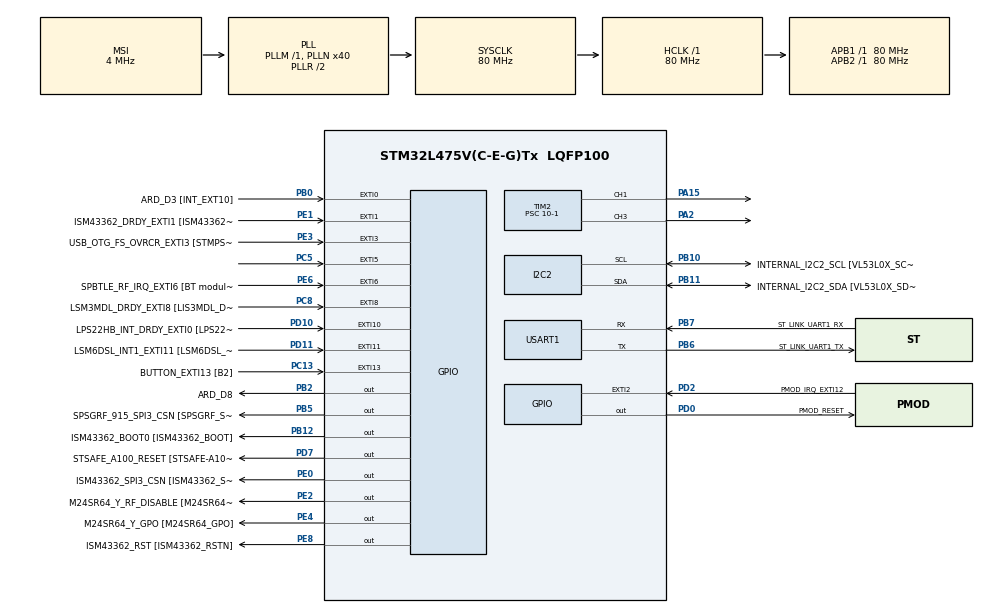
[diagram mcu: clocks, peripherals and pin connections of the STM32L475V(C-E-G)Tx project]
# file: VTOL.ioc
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I2C2.Timing=0x10909CEC
Mcu.Family=STM32L4
Mcu.Name=STM32L475V(C-E-G)Tx
Mcu.Package=LQFP100
NVIC.EXTI15_10_IRQn=true\:0\:0\:false\:false\:true\:true\:true\:true
NVIC.EXTI9_5_IRQn=true\:0\:0\:false\:false\:true\:true\:true\:true
NVIC.PriorityGroup=NVIC_PRIORITYGROUP_4
NVIC.TIM6_DAC_IRQn=true\:1\:0\:true\:false\:true\:true\:true\:true
NVIC.USART1_IRQn=true\:0\:0\:false\:false\:true\:true\:true\:true
PA13\ (JTMS-SWDIO).GPIO_Label=SYS_JTMS_SWDIO
PA13\ (JTMS-SWDIO).Mode=Serial_Wire
PA13\ (JTMS-SWDIO).Signal=SYS_JTMS-SWDIO
PA14\ (JTCK-SWCLK).GPIO_Label=SYS_JTCK_SWCLK
PA14\ (JTCK-SWCLK).Mode=Serial_Wire
PA14\ (JTCK-SWCLK).Signal=SYS_JTCK-SWCLK
PA15\ (JTDI).Signal=S_TIM2_CH1
PA2.Signal=S_TIM2_CH3
PB0.GPIO_Label=ARD_D3 [INT_EXT10]
PB0.Signal=GPXTI0
PB10.GPIO_Label=INTERNAL_I2C2_SCL [VL53L0X_SCL]
PB10.GPIO_Pu=GPIO_PULLUP
PB10.Mode=I2C
PB10.Signal=I2C2_SCL
PB11.GPIO_Label=INTERNAL_I2C2_SDA [VL53L0X_SDA]
PB11.GPIO_Pu=GPIO_PULLUP
PB11.Mode=I2C
PB11.Signal=I2C2_SDA
PB12.GPIO_Label=ISM43362_BOOT0 [ISM43362_BOOT]
PB12.Signal=GPIO_Output
PB2.GPIO_Label=ARD_D8
PB2.Signal=GPIO_Output
PB5.GPIO_Label=SPSGRF_915_SPI3_CSN [SPSGRF_SPI_CS]
PB5.PinState=GPIO_PIN_SET
PB5.Signal=GPIO_Output
PB6.GPIO_Label=ST_LINK_UART1_TX
PB6.Mode=Asynchronous
PB6.Signal=USART1_TX
PB7.GPIO_Label=ST_LINK_UART1_RX
PB7.Mode=Asynchronous
PB7.Signal=USART1_RX
PC13.GPIO_Label=BUTTON_EXTI13 [B2]
PC13.GPIO_ModeDefaultEXTI=GPIO_MODE_IT_FALLING
PC13.Signal=GPXTI13
PC5.Signal=GPXTI5
PC8.GPIO_Label=LSM3MDL_DRDY_EXTI8 [LIS3MDL_DRDY]
PC8.Signal=GPXTI8
PD0.GPIO_Label=PMOD_RESET
PD0.Signal=GPIO_Output
PD10.GPIO_Label=LPS22HB_INT_DRDY_EXTI0 [LPS22HB_INT_DRDY] 
PD10.Signal=GPXTI10
PD11.GPIO_Label=LSM6DSL_INT1_EXTI11 [LSM6DSL_INT1]
PD11.Signal=GPXTI11
PD2.GPIO_Label=PMOD_IRQ_EXTI12
PD2.Signal=GPXTI2
PD7.GPIO_Label=STSAFE_A100_RESET [STSAFE-A100_RESET]
PD7.Signal=GPIO_Output
PE0.GPIO_Label=ISM43362_SPI3_CSN [ISM43362_SSN]
PE0.PinState=GPIO_PIN_SET
PE0.Signal=GPIO_Output
PE1.GPIO_Label=ISM43362_DRDY_EXTI1 [ISM43362_DATARDY]
PE1.Signal=GPXTI1
PE2.GPIO_Label=M24SR64_Y_RF_DISABLE [M24SR64_RFDIS]
PE2.Signal=GPIO_Output
PE3.GPIO_Label=USB_OTG_FS_OVRCR_EXTI3 [STMPS2141STR_FAULT]
PE3.Signal=GPXTI3
PE4.GPIO_Label=M24SR64_Y_GPO [M24SR64_GPO]
PE4.Signal=GPIO_Output
PE6.GPIO_Label=SPBTLE_RF_IRQ_EXTI6 [BT module_SPI_IRQ]
PE6.Signal=GPXTI6
PE8.GPIO_Label=ISM43362_RST [ISM43362_RSTN]
PE8.Signal=GPIO_Output
ProjectManager.HeapSize=0x200
ProjectManager.StackSize=0x400
ProjectManager.TargetToolchain=STM32CubeIDE
RCC.ADCFreq_Value=48000000
RCC.AHBFreq_Value=80000000
RCC.APB1Freq_Value=80000000
RCC.APB1TimFreq_Value=80000000
RCC.APB2Freq_Value=80000000
RCC.APB2TimFreq_Value=80000000
RCC.CortexFreq_Value=80000000
RCC.HCLKFreq_Value=80000000
RCC.HSE_VALUE=8000000
RCC.HSI_VALUE=16000000
RCC.LSE_VALUE=32768
RCC.MSI_VALUE=4000000
RCC.PLLN=40
RCC.PLLSAI1N=24
RCC.SYSCLKFreq_VALUE=80000000
RCC.SYSCLKSource=RCC_SYSCLKSOURCE_PLLCLK
RCC.USBFreq_Value=48000000
RCC.VCOOutputFreq_Value=160000000
SH.S_TIM2_CH1.0=TIM2_CH1,PWM Generation1 CH1
SH.S_TIM2_CH3.0=TIM2_CH3,PWM Generation3 CH3
TIM2.AutoReloadPreload=TIM_AUTORELOAD_PRELOAD_ENABLE
TIM2.Channel-PWM\ Generation1\ CH1=TIM_CHANNEL_1
TIM2.Channel-PWM\ Generation3\ CH3=TIM_CHANNEL_3
TIM2.Period=8000-1
TIM2.Prescaler=10-1
TIM6.Period=40000-1
TIM6.Prescaler=10-1
USART1.VirtualMode-Asynchronous=VM_ASYNC
VP_TIM2_VS_ClockSourceINT.Mode=Internal
VP_TIM6_VS_ClockSourceINT.Mode=Enable_Timer
board=B-L475E-IOT01A2

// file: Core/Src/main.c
/* USER CODE BEGIN Header */
/**
 ******************************************************************************
 * @file           : main.c
 * @brief          : Main program body
 ******************************************************************************
 * @attention
 *
 * <h2><center>&copy; Copyright (c) 2022 STMicroelectronics.
 * All rights reserved.</center></h2>
 *
 * This software component is licensed by ST under BSD 3-Clause license,
 * the "License"; You may not use this file except in compliance with the
 * License. You may obtain a copy of the License at:
 *                        opensource.org/licenses/BSD-3-Clause
 *
 ******************************************************************************
 */
/* USER CODE END Header */
#include "main.h"

/* USER CODE BEGIN Includes */
#include <stdio.h>
#include "string.h"
#include "stdlib.h"
extern void initialise_monitor_handles(void);
#include "stm32l475e_iot01_accelero.h"
#include "stm32l475e_iot01_magneto.h"
#include "stm32l475e_iot01_gyro.h"
#include "math.h"

/* USER CODE END Includes */

/* USER CODE BEGIN PM */
#define PI 3.14159265359
#define MAX_SIZE 100
/* USER CODE END PM */

I2C_HandleTypeDef hi2c2;

TIM_HandleTypeDef htim2;
TIM_HandleTypeDef htim6;

UART_HandleTypeDef huart1;

/* USER CODE BEGIN PV */

/*################# RAW DATA ##################*/

int16_t Data_Mag_i16[3];
int16_t Data_Accel_i16[3];
float Data_Gyro_f[3];

/*################# CONVERTED DATA ############*/

float Data_f[9];
float Angle_f[3] ;
float measure_f=0;
float round_measure_f=0;

float Measured_Angle=0;
float Measured_Angle_Pred=0;
float vitesse_f=0;

uint8_t pData[10]={1,0xA,3,4,5,6,7,8,9,0xA};
uint8_t RxBuffer[MAX_SIZE]={0};
uint8_t Size=10;
uint8_t WaitForTx=0;
uint8_t WaitForRx=0;
uint8_t i=0;

char test[MAX_SIZE];
char Consigne_str[40];
float consigne=0;
char Start_str[40];
float Start=0;
char Kp_str[40];
float Kp=0;
char Ki_str[40];
float Ki=0;
char Kd_str[40];
float Kd=0;
uint8_t j=0;
float P=0,I=0,D=0,erreur=0,somme=0,erreur_pred=0;
float cons=0;

char Buf[40];

float magx,magy,magz;
char donne[10] ;
char mazzz[7];
int token = 0;
/* USER CODE END PV */

void SystemClock_Config(void);
static void MX_GPIO_Init(void);
static void MX_I2C2_Init(void);
static void MX_USART1_UART_Init(void);
static void MX_TIM6_Init(void);
static void MX_TIM2_Init(void);

int main(void)
{

	/* MCU Configuration--------------------------------------------------------*/

	/* Reset of all peripherals, Initializes the Flash interface and the Systick. */
	HAL_Init();

	/* Configure the system clock */
	SystemClock_Config();

	/* Initialize all configured peripherals */
	MX_GPIO_Init();
	MX_I2C2_Init();
	MX_USART1_UART_Init();
	MX_TIM6_Init();
	MX_TIM2_Init();
	/* USER CODE BEGIN 2 */
	// UART Init
	HAL_UARTEx_ReceiveToIdle_IT(&huart1, RxBuffer, MAX_SIZE);
	// BSP Init
	BSP_ACCELERO_Init();
	BSP_GYRO_Init();
	BSP_MAGNETO_Init();
	// Motor Timer Init
	TIM2->CCR1=TIM2->ARR;
	TIM2->CCR3=TIM2->ARR;
	HAL_TIM_PWM_Stop(&htim2, TIM_CHANNEL_3);
	HAL_TIM_PWM_Stop(&htim2, TIM_CHANNEL_1);
	// Sampling Timer Init
	HAL_TIM_Base_Start_IT(&htim6);
	/* USER CODE END 2 */

	/* Infinite loop */
	while (1)
	{

	}
}

void SystemClock_Config(void)
{
	RCC_OscInitTypeDef RCC_OscInitStruct = {0};
	RCC_ClkInitTypeDef RCC_ClkInitStruct = {0};

	/** Configure the main internal regulator output voltage
	 */
	if (HAL_PWREx_ControlVoltageScaling(PWR_REGULATOR_VOLTAGE_SCALE1) != HAL_OK)
	{
		Error_Handler();
	}
	/** Initializes the RCC Oscillators according to the specified parameters
	 * in the RCC_OscInitTypeDef structure.
	 */
	RCC_OscInitStruct.OscillatorType = RCC_OSCILLATORTYPE_MSI;
	RCC_OscInitStruct.MSIState = RCC_MSI_ON;
	RCC_OscInitStruct.MSICalibrationValue = 0;
	RCC_OscInitStruct.MSIClockRange = RCC_MSIRANGE_6;
	RCC_OscInitStruct.PLL.PLLState = RCC_PLL_ON;
	RCC_OscInitStruct.PLL.PLLSource = RCC_PLLSOURCE_MSI;
	RCC_OscInitStruct.PLL.PLLM = 1;
	RCC_OscInitStruct.PLL.PLLN = 40;
	RCC_OscInitStruct.PLL.PLLP = RCC_PLLP_DIV7;
	RCC_OscInitStruct.PLL.PLLQ = RCC_PLLQ_DIV2;
	RCC_OscInitStruct.PLL.PLLR = RCC_PLLR_DIV2;
	if (HAL_RCC_OscConfig(&RCC_OscInitStruct) != HAL_OK)
	{
		Error_Handler();
	}
	/** Initializes the CPU, AHB and APB buses clocks
	 */
	RCC_ClkInitStruct.ClockType = RCC_CLOCKTYPE_HCLK|RCC_CLOCKTYPE_SYSCLK
			|RCC_CLOCKTYPE_PCLK1|RCC_CLOCKTYPE_PCLK2;
	RCC_ClkInitStruct.SYSCLKSource = RCC_SYSCLKSOURCE_PLLCLK;
	RCC_ClkInitStruct.AHBCLKDivider = RCC_SYSCLK_DIV1;
	RCC_ClkInitStruct.APB1CLKDivider = RCC_HCLK_DIV1;
	RCC_ClkInitStruct.APB2CLKDivider = RCC_HCLK_DIV1;

	if (HAL_RCC_ClockConfig(&RCC_ClkInitStruct, FLASH_LATENCY_4) != HAL_OK)
	{
		Error_Handler();
	}
}

static void MX_I2C2_Init(void)
{

	hi2c2.Instance = I2C2;
	hi2c2.Init.Timing = 0x10909CEC;
	hi2c2.Init.OwnAddress1 = 0;
	hi2c2.Init.AddressingMode = I2C_ADDRESSINGMODE_7BIT;
	hi2c2.Init.DualAddressMode = I2C_DUALADDRESS_DISABLE;
	hi2c2.Init.OwnAddress2 = 0;
	hi2c2.Init.OwnAddress2Masks = I2C_OA2_NOMASK;
	hi2c2.Init.GeneralCallMode = I2C_GENERALCALL_DISABLE;
	hi2c2.Init.NoStretchMode = I2C_NOSTRETCH_DISABLE;
	if (HAL_I2C_Init(&hi2c2) != HAL_OK)
	{
		Error_Handler();
	}
	/** Configure Analogue filter
	 */
	if (HAL_I2CEx_ConfigAnalogFilter(&hi2c2, I2C_ANALOGFILTER_ENABLE) != HAL_OK)
	{
		Error_Handler();
	}
	/** Configure Digital filter
	 */
	if (HAL_I2CEx_ConfigDigitalFilter(&hi2c2, 0) != HAL_OK)
	{
		Error_Handler();
	}

}

static void MX_TIM2_Init(void)
{

	TIM_ClockConfigTypeDef sClockSourceConfig = {0};
	TIM_MasterConfigTypeDef sMasterConfig = {0};
	TIM_OC_InitTypeDef sConfigOC = {0};

	htim2.Instance = TIM2;
	htim2.Init.Prescaler = 10-1;
	htim2.Init.CounterMode = TIM_COUNTERMODE_UP;
	htim2.Init.Period = 8000-1;
	htim2.Init.ClockDivision = TIM_CLOCKDIVISION_DIV1;
	htim2.Init.AutoReloadPreload = TIM_AUTORELOAD_PRELOAD_ENABLE;
	if (HAL_TIM_Base_Init(&htim2) != HAL_OK)
	{
		Error_Handler();
	}
	sClockSourceConfig.ClockSource = TIM_CLOCKSOURCE_INTERNAL;
	if (HAL_TIM_ConfigClockSource(&htim2, &sClockSourceConfig) != HAL_OK)
	{
		Error_Handler();
	}
	if (HAL_TIM_PWM_Init(&htim2) != HAL_OK)
	{
		Error_Handler();
	}
	sMasterConfig.MasterOutputTrigger = TIM_TRGO_RESET;
	sMasterConfig.MasterSlaveMode = TIM_MASTERSLAVEMODE_DISABLE;
	if (HAL_TIMEx_MasterConfigSynchronization(&htim2, &sMasterConfig) != HAL_OK)
	{
		Error_Handler();
	}
	sConfigOC.OCMode = TIM_OCMODE_PWM1;
	sConfigOC.Pulse = 0;
	sConfigOC.OCPolarity = TIM_OCPOLARITY_HIGH;
	sConfigOC.OCFastMode = TIM_OCFAST_DISABLE;
	if (HAL_TIM_PWM_ConfigChannel(&htim2, &sConfigOC, TIM_CHANNEL_1) != HAL_OK)
	{
		Error_Handler();
	}
	if (HAL_TIM_PWM_ConfigChannel(&htim2, &sConfigOC, TIM_CHANNEL_3) != HAL_OK)
	{
		Error_Handler();
	}
	HAL_TIM_MspPostInit(&htim2);

}

static void MX_TIM6_Init(void)
{

	TIM_MasterConfigTypeDef sMasterConfig = {0};

	htim6.Instance = TIM6;
	htim6.Init.Prescaler = 10-1;
	htim6.Init.CounterMode = TIM_COUNTERMODE_UP;
	htim6.Init.Period = 40000-1;
	htim6.Init.AutoReloadPreload = TIM_AUTORELOAD_PRELOAD_DISABLE;
	if (HAL_TIM_Base_Init(&htim6) != HAL_OK)
	{
		Error_Handler();
	}
	sMasterConfig.MasterOutputTrigger = TIM_TRGO_RESET;
	sMasterConfig.MasterSlaveMode = TIM_MASTERSLAVEMODE_DISABLE;
	if (HAL_TIMEx_MasterConfigSynchronization(&htim6, &sMasterConfig) != HAL_OK)
	{
		Error_Handler();
	}

}

static void MX_USART1_UART_Init(void)
{

	huart1.Instance = USART1;
	huart1.Init.BaudRate = 115200;
	huart1.Init.WordLength = UART_WORDLENGTH_8B;
	huart1.Init.StopBits = UART_STOPBITS_1;
	huart1.Init.Parity = UART_PARITY_NONE;
	huart1.Init.Mode = UART_MODE_TX_RX;
	huart1.Init.HwFlowCtl = UART_HWCONTROL_NONE;
	huart1.Init.OverSampling = UART_OVERSAMPLING_16;
	huart1.Init.OneBitSampling = UART_ONE_BIT_SAMPLE_DISABLE;
	huart1.AdvancedInit.AdvFeatureInit = UART_ADVFEATURE_NO_INIT;
	if (HAL_UART_Init(&huart1) != HAL_OK)
	{
		Error_Handler();
	}

}

static void MX_GPIO_Init(void)
{
	GPIO_InitTypeDef GPIO_InitStruct = {0};

	/* GPIO Ports Clock Enable */
	__HAL_RCC_GPIOE_CLK_ENABLE();
	__HAL_RCC_GPIOC_CLK_ENABLE();
	__HAL_RCC_GPIOA_CLK_ENABLE();
	__HAL_RCC_GPIOB_CLK_ENABLE();
	__HAL_RCC_GPIOD_CLK_ENABLE();

	/*Configure GPIO pin Output Level */
	HAL_GPIO_WritePin(GPIOE, M24SR64_Y_RF_DISABLE_Pin|M24SR64_Y_GPO_Pin|ISM43362_RST_Pin, GPIO_PIN_RESET);

	/*Configure GPIO pin Output Level */
	HAL_GPIO_WritePin(GPIOB, ARD_D8_Pin|ISM43362_BOOT0_Pin, GPIO_PIN_RESET);

	/*Configure GPIO pin Output Level */
	HAL_GPIO_WritePin(GPIOD, PMOD_RESET_Pin|STSAFE_A100_RESET_Pin, GPIO_PIN_RESET);

	/*Configure GPIO pin Output Level */
	HAL_GPIO_WritePin(SPSGRF_915_SPI3_CSN_GPIO_Port, SPSGRF_915_SPI3_CSN_Pin, GPIO_PIN_SET);

	/*Configure GPIO pin Output Level */
	HAL_GPIO_WritePin(ISM43362_SPI3_CSN_GPIO_Port, ISM43362_SPI3_CSN_Pin, GPIO_PIN_SET);

	/*Configure GPIO pins : M24SR64_Y_RF_DISABLE_Pin M24SR64_Y_GPO_Pin ISM43362_RST_Pin ISM43362_SPI3_CSN_Pin */
	GPIO_InitStruct.Pin = M24SR64_Y_RF_DISABLE_Pin|M24SR64_Y_GPO_Pin|ISM43362_RST_Pin|ISM43362_SPI3_CSN_Pin;
	GPIO_InitStruct.Mode = GPIO_MODE_OUTPUT_PP;
	GPIO_InitStruct.Pull = GPIO_NOPULL;
	GPIO_InitStruct.Speed = GPIO_SPEED_FREQ_LOW;
	HAL_GPIO_Init(GPIOE, &GPIO_InitStruct);

	/*Configure GPIO pins : USB_OTG_FS_OVRCR_EXTI3_Pin SPBTLE_RF_IRQ_EXTI6_Pin ISM43362_DRDY_EXTI1_Pin */
	GPIO_InitStruct.Pin = USB_OTG_FS_OVRCR_EXTI3_Pin|SPBTLE_RF_IRQ_EXTI6_Pin|ISM43362_DRDY_EXTI1_Pin;
	GPIO_InitStruct.Mode = GPIO_MODE_IT_RISING;
	GPIO_InitStruct.Pull = GPIO_NOPULL;
	HAL_GPIO_Init(GPIOE, &GPIO_InitStruct);

	/*Configure GPIO pin : BUTTON_EXTI13_Pin */
	GPIO_InitStruct.Pin = BUTTON_EXTI13_Pin;
	GPIO_InitStruct.Mode = GPIO_MODE_IT_FALLING;
	GPIO_InitStruct.Pull = GPIO_NOPULL;
	HAL_GPIO_Init(BUTTON_EXTI13_GPIO_Port, &GPIO_InitStruct);

	/*Configure GPIO pins : PC5 LSM3MDL_DRDY_EXTI8_Pin */
	GPIO_InitStruct.Pin = GPIO_PIN_5|LSM3MDL_DRDY_EXTI8_Pin;
	GPIO_InitStruct.Mode = GPIO_MODE_IT_RISING;
	GPIO_InitStruct.Pull = GPIO_NOPULL;
	HAL_GPIO_Init(GPIOC, &GPIO_InitStruct);

	/*Configure GPIO pin : ARD_D3_Pin */
	GPIO_InitStruct.Pin = ARD_D3_Pin;
	GPIO_InitStruct.Mode = GPIO_MODE_IT_RISING;
	GPIO_InitStruct.Pull = GPIO_NOPULL;
	HAL_GPIO_Init(ARD_D3_GPIO_Port, &GPIO_InitStruct);

	/*Configure GPIO pins : ARD_D8_Pin ISM43362_BOOT0_Pin SPSGRF_915_SPI3_CSN_Pin */
	GPIO_InitStruct.Pin = ARD_D8_Pin|ISM43362_BOOT0_Pin|SPSGRF_915_SPI3_CSN_Pin;
	GPIO_InitStruct.Mode = GPIO_MODE_OUTPUT_PP;
	GPIO_InitStruct.Pull = GPIO_NOPULL;
	GPIO_InitStruct.Speed = GPIO_SPEED_FREQ_LOW;
	HAL_GPIO_Init(GPIOB, &GPIO_InitStruct);

	/*Configure GPIO pins : LPS22HB_INT_DRDY_EXTI0_Pin LSM6DSL_INT1_EXTI11_Pin PMOD_IRQ_EXTI12_Pin */
	GPIO_InitStruct.Pin = LPS22HB_INT_DRDY_EXTI0_Pin|LSM6DSL_INT1_EXTI11_Pin|PMOD_IRQ_EXTI12_Pin;
	GPIO_InitStruct.Mode = GPIO_MODE_IT_RISING;
	GPIO_InitStruct.Pull = GPIO_NOPULL;
	HAL_GPIO_Init(GPIOD, &GPIO_InitStruct);

	/*Configure GPIO pins : PMOD_RESET_Pin STSAFE_A100_RESET_Pin */
	GPIO_InitStruct.Pin = PMOD_RESET_Pin|STSAFE_A100_RESET_Pin;
	GPIO_InitStruct.Mode = GPIO_MODE_OUTPUT_PP;
	GPIO_InitStruct.Pull = GPIO_NOPULL;
	GPIO_InitStruct.Speed = GPIO_SPEED_FREQ_LOW;
	HAL_GPIO_Init(GPIOD, &GPIO_InitStruct);

	/* EXTI interrupt init*/
	HAL_NVIC_SetPriority(EXTI9_5_IRQn, 0, 0);
	HAL_NVIC_EnableIRQ(EXTI9_5_IRQn);

	HAL_NVIC_SetPriority(EXTI15_10_IRQn, 0, 0);
	HAL_NVIC_EnableIRQ(EXTI15_10_IRQn);

}

/* USER CODE BEGIN 4 */
/*############################## Kalman function ##############################*/
float kalman_filter( float ADC_Value)
{
	float x_k1_k1,x_k_k1;
	static float ADC_OLD_Value;
	float Z_k;
	static float P_k1_k1;

	static float Q = 0.0001;//Q: Regulation noise, Q increases, dynamic response becomes faster, and convergence stability becomes worse
	static float R = 0.005; //R: Test noise, R increases, dynamic response becomes slower, convergence stability becomes better
	static float Kg = 0;
	static float P_k_k1 = 1;

	float kalman_adc;
	static float kalman_adc_old=0;
	Z_k = ADC_Value;
	x_k1_k1 = kalman_adc_old;

	x_k_k1 = x_k1_k1;
	P_k_k1 = P_k1_k1 + Q;

	Kg = P_k_k1/(P_k_k1 + R);

	kalman_adc = x_k_k1 + Kg * (Z_k - kalman_adc_old);
	P_k1_k1 = (1 - Kg)*P_k_k1;
	P_k_k1 = P_k1_k1;

	ADC_OLD_Value = ADC_Value;
	kalman_adc_old = kalman_adc;

	return kalman_adc;
}

/*############################## Normalize angles ###############################*/

void vNormalizeAngles(float *pData)
{

	float NormAccel = 0.0 ;
	float NormGyro = 0.0 ;
	float NormMag	= 0.0 ;

	NormMag = sqrt((pData[0]*pData[0])+(pData[1]*pData[1])+(pData[2]*pData[2])) ;
	NormGyro = sqrt((pData[3]*pData[3])+(pData[4]*pData[4])+(pData[5]*pData[5])) ;
	NormAccel= sqrt((pData[6]*pData[6])+(pData[7]*pData[7])+(pData[8]*pData[8])) ;

	pData[0] = pData[0]/NormMag;
	pData[1] = pData[1]/NormMag;
	pData[2] = pData[2]/NormMag;

	pData[3] = pData[3]/NormGyro;
	pData[4] = pData[4]/NormGyro;
	pData[5] = pData[5]/NormGyro;

	pData[6] = pData[6]/NormAccel;
	pData[7] = pData[7]/NormAccel;
	pData[8] = pData[8]/NormAccel;

}

/*############################## Convert Data ###################################*/

void vConvertData(int16_t *pDataMag ,float *pDataGyro , int16_t *pDataAccel,float* Data_f)
{

	Data_f[0] =(Data_Mag_i16[0]/1000.0) ;
	Data_f[1] =(Data_Mag_i16[1]/1000.0);
	Data_f[2] =(Data_Mag_i16[2]/1000.0) ;

	Data_f[3] =  Data_Gyro_f[0]/1000.0 ;
	Data_f[4] =  Data_Gyro_f[1]/1000.0 ;
	Data_f[5] =  Data_Gyro_f[2]/1000.0 ;

	Data_f[6] = ((Data_Accel_i16[0]*9.81)/1000) ;
	Data_f[7] = ((Data_Accel_i16[1]*9.81)/1000) ;
	Data_f[8] =((Data_Accel_i16[2]*9.81)/1000) ;

}

/*############################## Calculate Angles #################################*/

void vCalculateAngles(float *pData,float* Angle_f)
{
	Angle_f[0] =  180*atan2(Data_f[7],Data_f[8])/PI;
	Angle_f[1] = 180*atan2(Data_f[6],Data_f[8])/PI;
	Angle_f[2]=180*atan2((-Data_f[1]*cos(Angle_f[0])+Data_f[3]*sin(Angle_f[0])),(Data_f[0]*cos(Angle_f[1])+Data_f[1]*sin(Angle_f[1])*sin(Angle_f[0])+Data_f[2]*sin(Angle_f[1])*cos(Angle_f[0])))/PI ;
}

/*############################## Calculate Angles #################################*/
float fRound(float var)
{
	char str[40];
	sprintf(str, "%.1f", var);
	// scan string value in var
	sscanf(str, "%f", &var);
	return var;
}

/*############################## Callback function ##############################*/

void HAL_TIM_PeriodElapsedCallback(TIM_HandleTypeDef *htim)
{
// Data acquisition
	BSP_MAGNETO_GetXYZ(&Data_Mag_i16[0]);
	BSP_GYRO_GetXYZ(&Data_Gyro_f[0]);
	BSP_ACCELERO_AccGetXYZ(&Data_Accel_i16[0]);

// Data normalization
	vConvertData(&Data_Mag_i16[0],&Data_Gyro_f[0],&Data_Accel_i16[0],&Data_f[0]);
	vNormalizeAngles(&Data_f[0]);
	vCalculateAngles(&Data_f[0],&Angle_f[0]);
	measure_f = kalman_filter(Angle_f[0]);
	round_measure_f = fRound(measure_f);

// Data sending
	Measured_Angle_Pred = Measured_Angle;
	Measured_Angle = round_measure_f+90;
	vitesse_f = ((Measured_Angle - Measured_Angle_Pred)/5);
	sprintf(Buf,"%.1f\n",Measured_Angle);
	HAL_UART_Transmit_IT(&huart1, (uint8_t*)Buf, 5);

// PID mode
	if(Start==1)
	{
		erreur=consigne-round_measure_f;
		P=Kp*erreur;
		somme=somme+erreur;
		I=somme*Ki;
		D=(erreur-erreur_pred)*Kd;
		cons=P+I+D;
		// Simple Saturation
		if(cons>TIM2->ARR)
		{
			cons=TIM2->ARR;
		}
		else if(cons<0)
		{
			cons=0;
		}
		TIM2->CCR3=cons;
		HAL_TIM_PWM_Start(&htim2, TIM_CHANNEL_3);

	}
// Stop mode
	else if(Start==0)
	{
		HAL_TIM_PWM_Stop(&htim2, TIM_CHANNEL_3);
		HAL_TIM_PWM_Stop(&htim2, TIM_CHANNEL_1);
	}

}

void HAL_UARTEx_RxEventCallback(UART_HandleTypeDef *huart, uint16_t Size)
{
	// UART function for communication with LabVIEW interface
	if(huart==&huart1)
	{
		HAL_UARTEx_ReceiveToIdle_IT(&huart1, RxBuffer, MAX_SIZE);
		sprintf(test,"%s",RxBuffer);
		i=0;
		uint8_t k=0;
		for(j=0;j<MAX_SIZE;j++)
		{
			if(i==0)
			{
				if(test[j]==',')
				{
					test[j]='.';
				}
				Consigne_str[k]=test[j];
				k++;
				if(test[j]=='\n')
				{
					k=0;
					i++;
				}
			}
			else if(i==1)
			{
				if(test[j]==',')
				{
					test[j]='.';
				}
				Start_str[k]=test[j];
				k++;
				if(test[j]=='\n')
				{
					k=0;
					i++;
				}
			}
			else if(i==2)
			{
				if(test[j]==',')
				{
					test[j]='.';
				}
				Kp_str[k]=test[j];
				k++;
				if(test[j]=='\n')
				{
					k=0;
					i++;
				}
			}
			else if(i==3)
			{
				if(test[j]==',')
				{
					test[j]='.';
				}
				Ki_str[k]=test[j];
				k++;
				if(test[j]=='\n')
				{
					k=0;
					i++;
				}
			}
			else if(i==4)
			{
				if(test[j]==',')
				{
					test[j]='.';
				}
				Kd_str[k]=test[j];
				k++;
				if(test[j]=='\n')
				{
					k=0;
					i++;
				}
			}
		}
		i=0;
		consigne = atof(Consigne_str);
		Start = atof(Start_str);
		Kp = atof(Kp_str);
		Ki = atof(Ki_str);
		Kd = atof(Kd_str);
	}
}

/* USER CODE END 4 */

void Error_Handler(void)
{
	__disable_irq();
	while (1)
	{
	}
}

/************************ (C) COPYRIGHT STMicroelectronics *****END OF FILE****/
